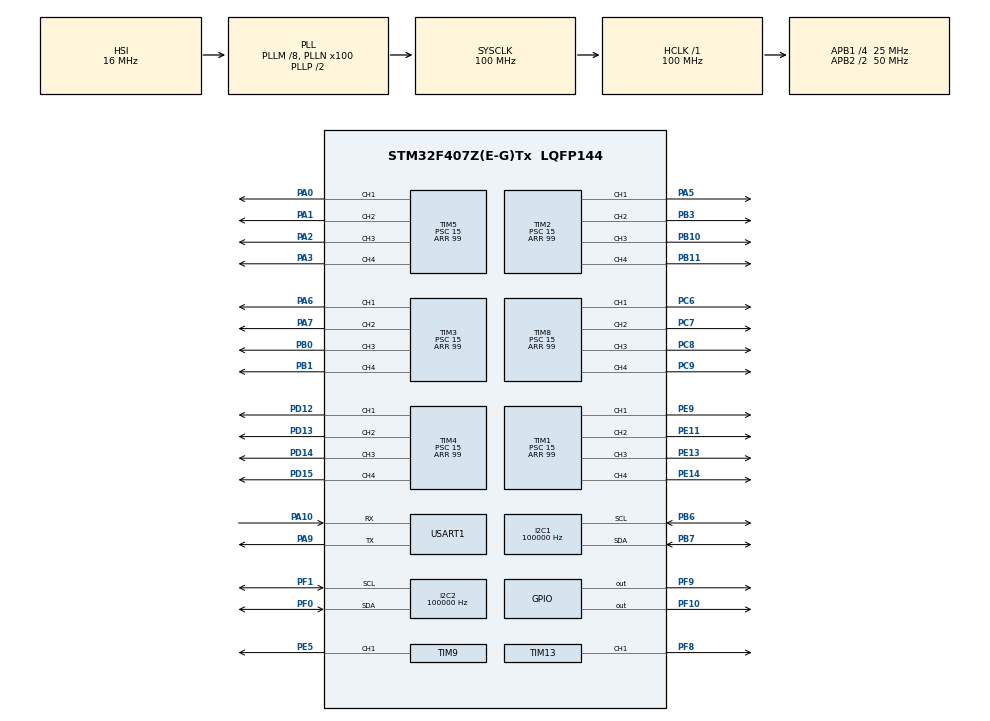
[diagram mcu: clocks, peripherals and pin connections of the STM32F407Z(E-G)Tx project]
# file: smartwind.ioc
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Dma.I2C1_RX.0.Direction=DMA_PERIPH_TO_MEMORY
Dma.I2C1_RX.0.FIFOMode=DMA_FIFOMODE_DISABLE
Dma.I2C1_RX.0.Instance=DMA1_Stream0
Dma.I2C1_RX.0.MemDataAlignment=DMA_MDATAALIGN_BYTE
Dma.I2C1_RX.0.MemInc=DMA_MINC_ENABLE
Dma.I2C1_RX.0.Mode=DMA_NORMAL
Dma.I2C1_RX.0.PeriphDataAlignment=DMA_PDATAALIGN_BYTE
Dma.I2C1_RX.0.PeriphInc=DMA_PINC_DISABLE
Dma.I2C1_RX.0.Priority=DMA_PRIORITY_LOW
Dma.I2C1_TX.1.Direction=DMA_MEMORY_TO_PERIPH
Dma.I2C1_TX.1.FIFOMode=DMA_FIFOMODE_DISABLE
Dma.I2C1_TX.1.Instance=DMA1_Stream6
Dma.I2C1_TX.1.MemDataAlignment=DMA_MDATAALIGN_BYTE
Dma.I2C1_TX.1.MemInc=DMA_MINC_ENABLE
Dma.I2C1_TX.1.Mode=DMA_NORMAL
Dma.I2C1_TX.1.PeriphDataAlignment=DMA_PDATAALIGN_BYTE
Dma.I2C1_TX.1.PeriphInc=DMA_PINC_DISABLE
Dma.I2C1_TX.1.Priority=DMA_PRIORITY_LOW
Dma.I2C2_RX.2.Direction=DMA_PERIPH_TO_MEMORY
Dma.I2C2_RX.2.FIFOMode=DMA_FIFOMODE_DISABLE
Dma.I2C2_RX.2.Instance=DMA1_Stream2
Dma.I2C2_RX.2.MemDataAlignment=DMA_MDATAALIGN_BYTE
Dma.I2C2_RX.2.MemInc=DMA_MINC_ENABLE
Dma.I2C2_RX.2.Mode=DMA_NORMAL
Dma.I2C2_RX.2.PeriphDataAlignment=DMA_PDATAALIGN_BYTE
Dma.I2C2_RX.2.PeriphInc=DMA_PINC_DISABLE
Dma.I2C2_RX.2.Priority=DMA_PRIORITY_LOW
Dma.I2C2_TX.3.Direction=DMA_MEMORY_TO_PERIPH
Dma.I2C2_TX.3.FIFOMode=DMA_FIFOMODE_DISABLE
Dma.I2C2_TX.3.Instance=DMA1_Stream7
Dma.I2C2_TX.3.MemDataAlignment=DMA_MDATAALIGN_BYTE
Dma.I2C2_TX.3.MemInc=DMA_MINC_ENABLE
Dma.I2C2_TX.3.Mode=DMA_NORMAL
Dma.I2C2_TX.3.PeriphDataAlignment=DMA_PDATAALIGN_BYTE
Dma.I2C2_TX.3.PeriphInc=DMA_PINC_DISABLE
Dma.I2C2_TX.3.Priority=DMA_PRIORITY_LOW
Dma.Request0=I2C1_RX
Dma.Request1=I2C1_TX
Dma.Request2=I2C2_RX
Dma.Request3=I2C2_TX
Dma.Request4=USART1_RX
Dma.Request5=USART1_TX
Dma.USART1_RX.4.Direction=DMA_PERIPH_TO_MEMORY
Dma.USART1_RX.4.FIFOMode=DMA_FIFOMODE_DISABLE
Dma.USART1_RX.4.Instance=DMA2_Stream2
Dma.USART1_RX.4.MemDataAlignment=DMA_MDATAALIGN_BYTE
Dma.USART1_RX.4.MemInc=DMA_MINC_ENABLE
Dma.USART1_RX.4.Mode=DMA_NORMAL
Dma.USART1_RX.4.PeriphDataAlignment=DMA_PDATAALIGN_BYTE
Dma.USART1_RX.4.PeriphInc=DMA_PINC_DISABLE
Dma.USART1_RX.4.Priority=DMA_PRIORITY_LOW
Dma.USART1_TX.5.Direction=DMA_MEMORY_TO_PERIPH
Dma.USART1_TX.5.FIFOMode=DMA_FIFOMODE_DISABLE
Dma.USART1_TX.5.Instance=DMA2_Stream7
Dma.USART1_TX.5.MemDataAlignment=DMA_MDATAALIGN_BYTE
Dma.USART1_TX.5.MemInc=DMA_MINC_ENABLE
Dma.USART1_TX.5.Mode=DMA_NORMAL
Dma.USART1_TX.5.PeriphDataAlignment=DMA_PDATAALIGN_BYTE
Dma.USART1_TX.5.PeriphInc=DMA_PINC_DISABLE
Dma.USART1_TX.5.Priority=DMA_PRIORITY_LOW
I2C1.ClockSpeed=100000
I2C1.OwnAddress=0
I2C2.ClockSpeed=100000
I2C2.I2C_Mode=I2C_Standard
I2C2.OwnAddress=1
Mcu.Family=STM32F4
Mcu.Name=STM32F407Z(E-G)Tx
Mcu.Package=LQFP144
NVIC.DMA1_Stream0_IRQn=true\:0\:0\:false\:false\:true\:false\:true\:true
NVIC.DMA1_Stream2_IRQn=true\:0\:0\:false\:false\:true\:false\:true\:true
NVIC.DMA1_Stream6_IRQn=true\:0\:0\:false\:false\:true\:false\:true\:true
NVIC.DMA1_Stream7_IRQn=true\:0\:0\:false\:false\:true\:false\:true\:true
NVIC.DMA2_Stream2_IRQn=true\:0\:0\:false\:false\:true\:false\:true\:true
NVIC.DMA2_Stream7_IRQn=true\:0\:0\:false\:false\:true\:false\:true\:true
NVIC.I2C1_EV_IRQn=true\:0\:0\:false\:false\:true\:true\:true\:true
NVIC.I2C2_EV_IRQn=true\:0\:0\:false\:false\:true\:true\:true\:true
NVIC.PriorityGroup=NVIC_PRIORITYGROUP_4
NVIC.USART1_IRQn=true\:0\:0\:false\:false\:true\:true\:true\:true
PA0-WKUP.Signal=S_TIM5_CH1
PA1.Signal=S_TIM5_CH2
PA10.GPIO_PuPd=GPIO_NOPULL
PA10.Mode=Asynchronous
PA10.Signal=USART1_RX
PA13.Mode=Serial_Wire
PA13.Signal=SYS_JTMS-SWDIO
PA14.Mode=Serial_Wire
PA14.Signal=SYS_JTCK-SWCLK
PA2.Signal=S_TIM5_CH3
PA3.Signal=S_TIM5_CH4
PA5.Signal=S_TIM2_CH1_ETR
PA6.Signal=S_TIM3_CH1
PA7.Signal=S_TIM3_CH2
PA9.GPIO_PuPd=GPIO_NOPULL
PA9.Mode=Asynchronous
PA9.Signal=USART1_TX
PB0.Signal=S_TIM3_CH3
PB1.Signal=S_TIM3_CH4
PB10.Signal=S_TIM2_CH3
PB11.Signal=S_TIM2_CH4
PB3.Signal=S_TIM2_CH2
PB6.GPIO_Mode=GPIO_MODE_AF_OD
PB6.GPIO_Pu=GPIO_PULLUP
PB6.GPIO_Speed=GPIO_SPEED_FREQ_LOW
PB6.Mode=I2C
PB6.Signal=I2C1_SCL
PB6.Stacked=true
PB7.GPIO_Mode=GPIO_MODE_AF_OD
PB7.GPIO_Pu=GPIO_PULLUP
PB7.GPIO_Speed=GPIO_SPEED_FREQ_LOW
PB7.Mode=I2C
PB7.Signal=I2C1_SDA
PC6.Signal=S_TIM8_CH1
PC7.Signal=S_TIM8_CH2
PC8.Signal=S_TIM8_CH3
PC9.Signal=S_TIM8_CH4
PD12.Signal=S_TIM4_CH1
PD13.Signal=S_TIM4_CH2
PD14.Signal=S_TIM4_CH3
PD15.Signal=S_TIM4_CH4
PE11.Signal=S_TIM1_CH2
PE13.Signal=S_TIM1_CH3
PE14.Signal=S_TIM1_CH4
PE5.Signal=S_TIM9_CH1
PE9.Signal=S_TIM1_CH1
PF0.GPIO_Pu=GPIO_PULLUP
PF0.GPIO_Speed=GPIO_SPEED_FREQ_LOW
PF0.Mode=I2C
PF0.Signal=I2C2_SDA
PF1.GPIO_Pu=GPIO_PULLUP
PF1.GPIO_Speed=GPIO_SPEED_FREQ_LOW
PF1.Mode=I2C
PF1.Signal=I2C2_SCL
PF10.GPIO_PuPd=GPIO_PULLDOWN
PF10.PinState=GPIO_PIN_SET
PF10.Signal=GPIO_Output
PF8.Signal=S_TIM13_CH1
PF9.GPIO_PuPd=GPIO_PULLDOWN
PF9.PinState=GPIO_PIN_SET
PF9.Signal=GPIO_Output
PH0-OSC_IN.Mode=HSE-External-Oscillator
PH0-OSC_IN.Signal=RCC_OSC_IN
PH1-OSC_OUT.Mode=HSE-External-Oscillator
PH1-OSC_OUT.Signal=RCC_OSC_OUT
ProjectManager.HeapSize=0x600
ProjectManager.StackSize=0x400
ProjectManager.TargetToolchain=MDK-ARM V5.32
RCC.48MHZClocksFreq_Value=50000000
RCC.AHBFreq_Value=100000000
RCC.APB1CLKDivider=RCC_HCLK_DIV4
RCC.APB1Freq_Value=25000000
RCC.APB1TimFreq_Value=50000000
RCC.APB2CLKDivider=RCC_HCLK_DIV2
RCC.APB2Freq_Value=50000000
RCC.APB2TimFreq_Value=100000000
RCC.CortexFreq_Value=100000000
RCC.HCLKFreq_Value=100000000
RCC.HSE_VALUE=25000000
RCC.HSI_VALUE=16000000
RCC.LSE_VALUE=32768
RCC.PLLM=8
RCC.PLLN=100
RCC.SYSCLKFreq_VALUE=100000000
RCC.SYSCLKSource=RCC_SYSCLKSOURCE_PLLCLK
RCC.VCOOutputFreq_Value=200000000
SH.S_TIM13_CH1.0=TIM13_CH1,PWM Generation1 CH1
SH.S_TIM1_CH1.0=TIM1_CH1,PWM Generation1 CH1
SH.S_TIM1_CH2.0=TIM1_CH2,PWM Generation2 CH2
SH.S_TIM1_CH3.0=TIM1_CH3,PWM Generation3 CH3
SH.S_TIM1_CH4.0=TIM1_CH4,PWM Generation4 CH4
SH.S_TIM2_CH1_ETR.0=TIM2_CH1,PWM Generation1 CH1
SH.S_TIM2_CH2.0=TIM2_CH2,PWM Generation2 CH2
SH.S_TIM2_CH3.0=TIM2_CH3,PWM Generation3 CH3
SH.S_TIM2_CH4.0=TIM2_CH4,PWM Generation4 CH4
SH.S_TIM3_CH1.0=TIM3_CH1,PWM Generation1 CH1
SH.S_TIM3_CH2.0=TIM3_CH2,PWM Generation2 CH2
SH.S_TIM3_CH3.0=TIM3_CH3,PWM Generation3 CH3
SH.S_TIM3_CH4.0=TIM3_CH4,PWM Generation4 CH4
SH.S_TIM4_CH1.0=TIM4_CH1,PWM Generation1 CH1
SH.S_TIM4_CH2.0=TIM4_CH2,PWM Generation2 CH2
SH.S_TIM4_CH3.0=TIM4_CH3,PWM Generation3 CH3
SH.S_TIM4_CH4.0=TIM4_CH4,PWM Generation4 CH4
SH.S_TIM5_CH1.0=TIM5_CH1,PWM Generation1 CH1
SH.S_TIM5_CH2.0=TIM5_CH2,PWM Generation2 CH2
SH.S_TIM5_CH3.0=TIM5_CH3,PWM Generation3 CH3
SH.S_TIM5_CH4.0=TIM5_CH4,PWM Generation4 CH4
SH.S_TIM8_CH1.0=TIM8_CH1,PWM Generation1 CH1
SH.S_TIM8_CH2.0=TIM8_CH2,PWM Generation2 CH2
SH.S_TIM8_CH3.0=TIM8_CH3,PWM Generation3 CH3
SH.S_TIM8_CH4.0=TIM8_CH4,PWM Generation4 CH4
SH.S_TIM9_CH1.0=TIM9_CH1,PWM Generation1 CH1
TIM1.Channel-PWM\ Generation1\ CH1=TIM_CHANNEL_1
TIM1.Channel-PWM\ Generation2\ CH2=TIM_CHANNEL_2
TIM1.Channel-PWM\ Generation3\ CH3=TIM_CHANNEL_3
TIM1.Channel-PWM\ Generation4\ CH4=TIM_CHANNEL_4
TIM1.Period=99
TIM1.Prescaler=15
TIM13.Channel=TIM_CHANNEL_1
TIM13.Period=99
TIM13.Prescaler=15
TIM2.Channel-PWM\ Generation1\ CH1=TIM_CHANNEL_1
TIM2.Channel-PWM\ Generation2\ CH2=TIM_CHANNEL_2
TIM2.Channel-PWM\ Generation3\ CH3=TIM_CHANNEL_3
TIM2.Channel-PWM\ Generation4\ CH4=TIM_CHANNEL_4
TIM2.Period=99
TIM2.Prescaler=15
TIM3.Channel-PWM\ Generation1\ CH1=TIM_CHANNEL_1
TIM3.Channel-PWM\ Generation2\ CH2=TIM_CHANNEL_2
TIM3.Channel-PWM\ Generation3\ CH3=TIM_CHANNEL_3
TIM3.Channel-PWM\ Generation4\ CH4=TIM_CHANNEL_4
TIM3.Period=99
TIM3.Prescaler=15
TIM4.Channel-PWM\ Generation1\ CH1=TIM_CHANNEL_1
TIM4.Channel-PWM\ Generation2\ CH2=TIM_CHANNEL_2
TIM4.Channel-PWM\ Generation3\ CH3=TIM_CHANNEL_3
TIM4.Channel-PWM\ Generation4\ CH4=TIM_CHANNEL_4
TIM4.Period=99
TIM4.Prescaler=15
TIM5.Channel-PWM\ Generation1\ CH1=TIM_CHANNEL_1
TIM5.Channel-PWM\ Generation2\ CH2=TIM_CHANNEL_2
TIM5.Channel-PWM\ Generation3\ CH3=TIM_CHANNEL_3
TIM5.Channel-PWM\ Generation4\ CH4=TIM_CHANNEL_4
TIM5.Period=99
TIM5.Prescaler=15
TIM8.Channel-PWM\ Generation1\ CH1=TIM_CHANNEL_1
TIM8.Channel-PWM\ Generation2\ CH2=TIM_CHANNEL_2
TIM8.Channel-PWM\ Generation3\ CH3=TIM_CHANNEL_3
TIM8.Channel-PWM\ Generation4\ CH4=TIM_CHANNEL_4
TIM8.Period=99
TIM8.Prescaler=15
TIM9.Channel-PWM\ Generation1\ CH1=TIM_CHANNEL_1
TIM9.Period=99
TIM9.Prescaler=15
USART1.VirtualMode=VM_ASYNC
VP_TIM13_VS_ClockSourceINT.Mode=Enable_Timer
board=custom

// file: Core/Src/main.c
/* USER CODE BEGIN Header */
/**
  ******************************************************************************
  * @file           : main.c
  * @brief          : Main program body
  ******************************************************************************
  * @attention
  *
  * Copyright (c) 2022 STMicroelectronics.
  * All rights reserved.
  *
  * This software is licensed under terms that can be found in the LICENSE file
  * in the root directory of this software component.
  * If no LICENSE file comes with this software, it is provided AS-IS.
  *
  ******************************************************************************
  */
/* USER CODE END Header */
#include "main.h"
#include "dma.h"
#include "i2c.h"
#include "tim.h"
#include "usart.h"
#include "gpio.h"

/* USER CODE BEGIN Includes */
//#include "pca9685.h"
#include "smartwind.h"
#include "stdio.h"
#include "string.h"
/* USER CODE END Includes */

/* USER CODE BEGIN PTD */

extern USRAT_RX usart1_rx;
#define rBuf usart1_rx.rx_buff

/* USER CODE BEGIN PV */

/* USER CODE END PV */
/* USER CODE END PTD */

void SystemClock_Config(void);
/* USER CODE BEGIN PFP */
void Clear_Usart(USRAT_RX *usart_rx)
{
	memset((uint8_t*)usart_rx,0,sizeof(USRAT_RX));
}
/* USER CODE END PFP */

int main(void)
{

  /* MCU Configuration--------------------------------------------------------*/

  /* Reset of all peripherals, Initializes the Flash interface and the Systick. */
  HAL_Init();

  /* Configure the system clock */
  SystemClock_Config();

  /* Initialize all configured peripherals */
  MX_GPIO_Init();
  MX_DMA_Init();
  MX_TIM1_Init();
  MX_TIM2_Init();
  MX_TIM3_Init();
  MX_TIM4_Init();
  MX_TIM5_Init();
  MX_TIM8_Init();
  MX_TIM9_Init();
  MX_TIM13_Init();
  MX_I2C1_Init();
  MX_I2C2_Init();
  MX_USART1_UART_Init();
  /* USER CODE BEGIN 2 */
	Pwm_Init_9();
	PWM_SET_9();

	fan_handle myfan;

 //
	Clear_Usart(&usart1_rx);
  __HAL_UART_ENABLE_IT(&huart1,UART_IT_IDLE);	//
  HAL_UART_Receive_DMA(&huart1,usart1_rx.rx_buff,RX_BUF_MAX_LEN);

	//;;;;;;;;;;;;;;;;;;;;;;;;;;;;;;;;;;;;;;;;;;;;
	fan_init(&myfan,&hi2c2,&hi2c1,100.0f);
	char flag = 'i';
	int even_count =0;
	memset((void *)rBuf, 0x00, RX_BUF_MAX_LEN);
	//pca9685_set_pwm_frequency(&pca_handle, 100.0f);
  /* USER CODE END 2 */

  /* Infinite loop */
  while (1)
  {

    /* USER CODE BEGIN 3 */

// Set the channel on and off times.
// The channel must be >= 0 and < 16.
// The on and off times must be >= 0 and < 4096.
// In this example, the duty cycle is (off time - on time) / 4096 = (2048 - 0) / 4096 = 50%
	//pca9685_set_channel_pwm_times(&pca_handle, 0, 0, 2048);

		//printf("good");

		if(rBuf[0]==0x00){

		continue;
		};

		switch(rBuf[0])
		{
			//test mode
			case 't':
			{
				fan_device_detect(&myfan);
			break;
			}
			//stop mode
			case 'p' :
			{
				fan_stop(&myfan);
			printf("r$p$\n");
			break;
			}
			//even mode
			case 'e' :
			{
				uint16_t pwm_up=0;
				sscanf(rBuf,"e$%i$",&pwm_up);
			even_count++;

				printf("r$e$\n");
				fan_set_all(&myfan,0,pwm_up);
			rBuf[0]=0u;
			//memset((void *)rBuf, 0x00, RX_BUF_MAX_LEN)
				break;
			}
			case 'c' :
				fan_callibration(&myfan);

			//echo test
			case 'q' :

				printf("%s",rBuf);

			//gust mode
			case 'g' :
			{

				uint32_t pwm_down,pwm_up,period;
				sscanf(rBuf,"g$%i,%i,%i$",&period,&pwm_down,&pwm_up);

				fan_gust_initialize(&myfan,period,pwm_up,pwm_down);

				fan_gust_update(&myfan);
				printf("r$g$\n");
				break;

			}

			//sheer mode
			case 's' :
			{
				int direction;
				int row,pwm_up;
				sscanf(rBuf,"s$%i,%i,%i$",&direction,&row,&pwm_up);
				if(direction == 0){
					fan_set_row(&myfan,row,0,pwm_up);

				}

				if(direction == 1){
					fan_set_col(&myfan,row,0,pwm_up);

				}

				printf("r$s$\n");
				rBuf[0]=0u;
				break;

			}

			//wave mode
			case 'w' :
			{
				int direction;
				int spatial_period,time_period,pwm;
				sscanf(rBuf,"w$%d,%d,%d,%d$",&direction,&spatial_period,&time_period,&pwm);
				fan_wave_initialize(&myfan,spatial_period,pwm,direction);
			fan_wave_update(&myfan);

			}

break;
		}

  }
  /* USER CODE END 3 */
}

void SystemClock_Config(void)
{
  RCC_OscInitTypeDef RCC_OscInitStruct = {0};
  RCC_ClkInitTypeDef RCC_ClkInitStruct = {0};

  /** Configure the main internal regulator output voltage
  */
  __HAL_RCC_PWR_CLK_ENABLE();
  __HAL_PWR_VOLTAGESCALING_CONFIG(PWR_REGULATOR_VOLTAGE_SCALE1);
  /** Initializes the RCC Oscillators according to the specified parameters
  * in the RCC_OscInitTypeDef structure.
  */
  RCC_OscInitStruct.OscillatorType = RCC_OSCILLATORTYPE_HSI;
  RCC_OscInitStruct.HSIState = RCC_HSI_ON;
  RCC_OscInitStruct.HSICalibrationValue = RCC_HSICALIBRATION_DEFAULT;
  RCC_OscInitStruct.PLL.PLLState = RCC_PLL_ON;
  RCC_OscInitStruct.PLL.PLLSource = RCC_PLLSOURCE_HSI;
  RCC_OscInitStruct.PLL.PLLM = 8;
  RCC_OscInitStruct.PLL.PLLN = 100;
  RCC_OscInitStruct.PLL.PLLP = RCC_PLLP_DIV2;
  RCC_OscInitStruct.PLL.PLLQ = 4;
  if (HAL_RCC_OscConfig(&RCC_OscInitStruct) != HAL_OK)
  {
    Error_Handler();
  }
  /** Initializes the CPU, AHB and APB buses clocks
  */
  RCC_ClkInitStruct.ClockType = RCC_CLOCKTYPE_HCLK|RCC_CLOCKTYPE_SYSCLK
                              |RCC_CLOCKTYPE_PCLK1|RCC_CLOCKTYPE_PCLK2;
  RCC_ClkInitStruct.SYSCLKSource = RCC_SYSCLKSOURCE_PLLCLK;
  RCC_ClkInitStruct.AHBCLKDivider = RCC_SYSCLK_DIV1;
  RCC_ClkInitStruct.APB1CLKDivider = RCC_HCLK_DIV4;
  RCC_ClkInitStruct.APB2CLKDivider = RCC_HCLK_DIV2;

  if (HAL_RCC_ClockConfig(&RCC_ClkInitStruct, FLASH_LATENCY_3) != HAL_OK)
  {
    Error_Handler();
  }
}

void Error_Handler(void)
{
  __disable_irq();
  while (1)
  {
  }
}
